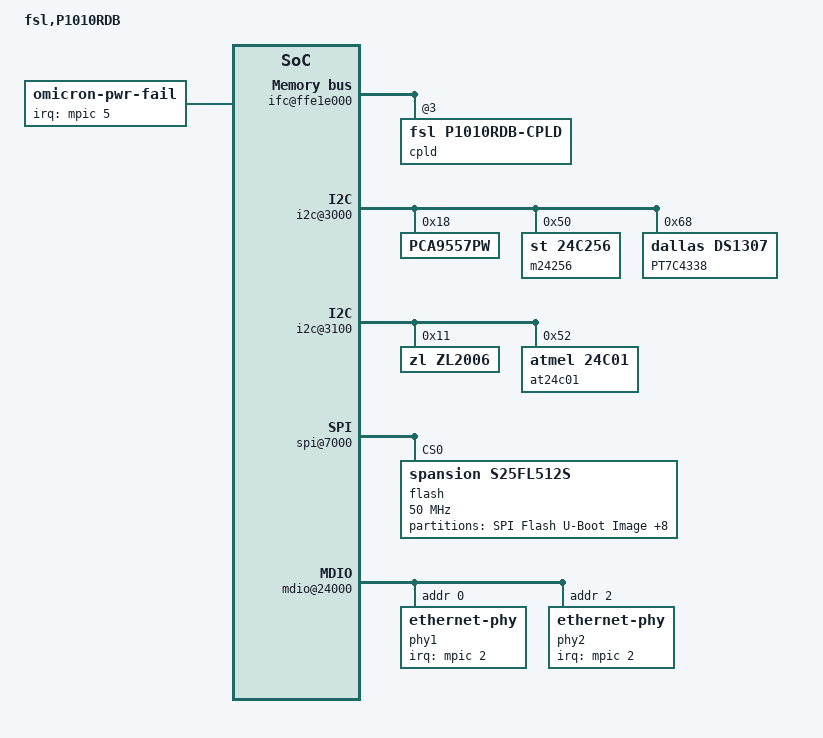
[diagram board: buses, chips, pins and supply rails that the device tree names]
/*
 * P1010 RDB Device Tree Source with MIC-400 changes
 *
 * Copyright 2011 Freescale Semiconductor Inc.
 * Copyright 2013 OMICRON electronics GmbH.
 *
 * This program is free software; you can redistribute  it and/or modify it
 * under  the terms of  the GNU General  Public License as published by the
 * Free Software Foundation;  either version 2 of the  License, or (at your
 * option) any later version.
 *
 * This is a device tree for the P1010 RDB, but configured to look as
 * much like a MIC-400 as possible.
 */

/include/ "p1010si.dtsi"

/ {
	model = "fsl,P1010RDB";
	compatible = "fsl,P1010RDB";

	aliases {
		serial0 = &serial0;
		serial1 = &serial1;
		ethernet1 = &enet1;
		ethernet2 = &enet2;
		pci0 = &pci0;
		pci1 = &pci1;
		can0 = &can0;
		can1 = &can1;
	};

	memory {
		device_type = "memory";
	};

	ifc@ffe1e000 {
		/* NOR, NAND Flashes and CPLD on board */
		ranges = <0x0 0x0 0x0 0xee000000 0x02000000
			  0x1 0x0 0x0 0xff800000 0x00010000
			  0x3 0x0 0x0 0xffb00000 0x00000020>;

		cpld@3,0 {
			#address-cells = <1>;
			#size-cells = <1>;
			compatible = "fsl,p1010rdb-cpld";
			reg = <0x3 0x0 0x0000020>;
			bank-width = <1>;
			device-width = <1>;
		};
	};

	soc@ffe00000 {
		i2c@3000 {
			PCA9557PW@18 {
				/* IO Port expander */
				compatible = "PCA9557PW";
				reg = <0x18>;
			};
			m24256@50 {
				/* 32 K byte eeprom */
				compatible = "st,24c256";
				reg = <0x50>;
			};
			PT7C4338@68 {
				/* RTC and NVRAM */
				compatible = "dallas,ds1307";
				reg = <0x68>;
			};
		};

		i2c@3100 {
			ZL2006@11 {
				/* Some sort of power control thing?? */
				compatible = "zl,ZL2006";
				reg = <0x11>;
			};
			at24c01@52 {
				/* 128 byte eeprom */
				compatible = "atmel,24c01";
				reg = <0x52>;
			};
		};

		spi@7000 {
			flash@0 {
				#address-cells = <1>;
				#size-cells = <1>;
				compatible = "spansion,s25fl512s";
				reg = <0>;
				spi-max-frequency = <50000000>;

				partition@0 {
					/* 768KB for u-boot Bootloader Image */
					reg = <0x00000000 0x000C0000>;
					label = "SPI Flash U-Boot Image";
					read-only;
				};

				partition@0C0000 {
					/* 256KB Spare? */
					reg = <0x000C0000 0x00040000>;
					label = "SPI Flash Config Data";
					read-only;
				};

				partition@100000 {
					/* 512KB for Environment */
					reg = <0x00100000 0x00080000>;
					label = "SPI Flash U-Boot Environment";
				};

				partition@180000 {
					/* 256KB for Device Tree */
					reg = <0x00180000 0x00040000>;
					label = "SPI Flash DTB Image";
				};

				partition@1C0000 {
					/* 256KB Spare? */
					reg = <0x001C0000 0x00040000>;
					label = "SPI Flash Spare";
				};

				partition@200000 {
					/* 2MB for FPGA Image */
					reg = <0x00200000 0x00200000>;
					label = "SPI Flash FPGA Image";
				};

				partition@400000 {
					/* 16MB for Rescue Linux Kernel */
					reg = <0x00400000 0x01000000>;
					label = "SPI Flash Rescue Linux Kernel";
				};

				partition@1400000 {
					/* 8MB for Omicron Linux Kernel */
					reg = <0x01400000 0x00800000>;
					label = "SPI Flash Omicron Linux Kernel";
				};

				partition@1C00000 {
					/* 36MB for File System */
					reg = <0x01C00000 0x02400000>;
					label = "SPI Flash File System";
				};
			};
		};

		usb@22000 {
			phy_type = "utmi";
		};

		mdio@24000 {
			phy0: ethernet-phy@0 {
                        	status = "disabled";
			};

			phy1: ethernet-phy@1 {
				interrupt-parent = <&mpic>;
				interrupts = <2 1>;
				reg = <0x0>;
			};

			phy2: ethernet-phy@2 {
				interrupt-parent = <&mpic>;
				interrupts = <2 1>;
				reg = <0x2>;
			};
		};

		enet0: ethernet@b0000 {
                        status = "disabled";
		};

		enet1: ethernet@b1000 {
			phy-handle = <&phy1>;
			tbi-handle = <&tbi0>;
			phy-connection-type = "sgmii";
		};

		enet2: ethernet@b2000 {
			phy-handle = <&phy2>;
			tbi-handle = <&tbi1>;
			phy-connection-type = "sgmii";
		};

                omicron-pwr-fail {
                        compatible = "omicron-pwr-fail";
                        interrupt-parent = <&mpic>;
                        interrupts = <5 1>;
                };
	};

	pci0: pcie@ffe09000 {
		ranges = <0x2000000 0x0 0xa0000000 0 0xa0000000 0x0 0x20000000
			  0x1000000 0x0 0x00000000 0 0xffc10000 0x0 0x10000>;
		pcie@0 {
			reg = <0x0 0x0 0x0 0x0 0x0>;
			#interrupt-cells = <1>;
			#size-cells = <2>;
			#address-cells = <3>;
			device_type = "pci";
			interrupt-parent = <&mpic>;
			interrupts = <16 2>;
			interrupt-map-mask = <0xf800 0x0 0x0 0x7>;
			interrupt-map = <
			/* IDSEL 0x0 */
			0000 0x0 0x0 0x1 &mpic 0x4 0x1
			0000 0x0 0x0 0x2 &mpic 0x5 0x1
			0000 0x0 0x0 0x3 &mpic 0x6 0x1
			0000 0x0 0x0 0x4 &mpic 0x7 0x1
			>;

			ranges = <0x2000000 0x0 0xa0000000
				  0x2000000 0x0 0xa0000000
				  0x0 0x20000000

				  0x1000000 0x0 0x0
				  0x1000000 0x0 0x0
				  0x0 0x100000>;
		};
	};

	pci1: pcie@ffe0a000 {
		ranges = <0x2000000 0x0 0x80000000 0 0x80000000 0x0 0x20000000
			  0x1000000 0x0 0x00000000 0 0xffc00000 0x0 0x10000>;
		pcie@0 {
			reg = <0x0 0x0 0x0 0x0 0x0>;
			#interrupt-cells = <1>;
			#size-cells = <2>;
			#address-cells = <3>;
			device_type = "pci";
			interrupt-parent = <&mpic>;
			interrupts = <16 2>;
			interrupt-map-mask = <0xf800 0x0 0x0 0x7>;
			interrupt-map = <
			/* IDSEL 0x0 */
			0000 0x0 0x0 0x1 &mpic 0x4 0x1
			0000 0x0 0x0 0x2 &mpic 0x5 0x1
			0000 0x0 0x0 0x3 &mpic 0x6 0x1
			0000 0x0 0x0 0x4 &mpic 0x7 0x1
			>;
			ranges = <0x2000000 0x0 0x80000000
				  0x2000000 0x0 0x80000000
				  0x0 0x20000000

				  0x1000000 0x0 0x0
				  0x1000000 0x0 0x0
				  0x0 0x100000>;
		};
	};
};
